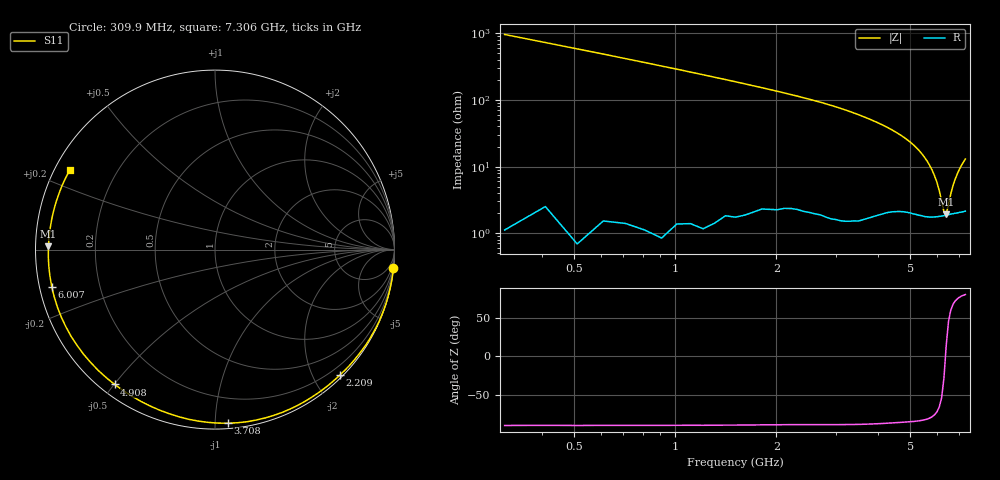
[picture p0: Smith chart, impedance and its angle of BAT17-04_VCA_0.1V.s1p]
! Infineon Technologies  Discrete & RF Semiconductors
! BAT17-04
! VCA = 0.1 V
! One-Port S-Parameters
# Hz  S  MA  R  50
!f  S11
!Hz  Mag  Ang
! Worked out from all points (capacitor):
!   71 points, 309.9 MHz to 7.306 GHz, reference 50 ohm
!   read as one part to ground: C = 531 fF near 309.9 MHz
!   lowest |Z| = 1.93 ohm at 6.407 GHz (marker M1)
!   series resonance near 6.374 GHz, so ESL is about 1.2 nH
!   S11 on the Smith chart (normalised r, x): 309.9 MHz: 0, -19; 2.209 GHz: 0.05, -2.41; 3.708 GHz: 0.03, -1.08; 4.908 GHz: 0.04, -0.50; 6.007 GHz: 0.04, -0.11; 7.306 GHz: 0.04, +0.26
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3.0985e8  0.9999 -5.9
8.096e8  0.9992 -15.6
1.2094e9  0.998 -23.6
1.6092e9  0.9944 -32.0
2.10895e9  0.9875 -42.8
2.2089e9  0.9863 -45.1
2.50875e9  0.9844 -52.0
2.70865e9  0.9831 -56.9
3.0085e9  0.9818 -64.9
3.2084e9  0.9801 -70.5
3.4083e9  0.9769 -76.4
3.70815e9  0.9699 -85.8
3.8081e9  0.9669 -89.0
4.008e9  0.9602 -95.5
4.2079e9  0.9528 -102.2
4.50775e9  0.9435 -112.5
4.70765e9  0.939 -119.5
4.90755e9  0.9365 -126.7
5.10745e9  0.9361 -133.9
5.30735e9  0.936 -141.4
5.6072e9  0.9356 -152.6
5.8071e9  0.9346 -160.0
6.007e9  0.9327 -167.3
6.2069e9  0.9306 -174.3
6.4068e9  0.9279 178.9
6.50675e9  0.9272 175.6
6.90655e9  0.9243 163.1
7.30635e9  0.9229 151.2
